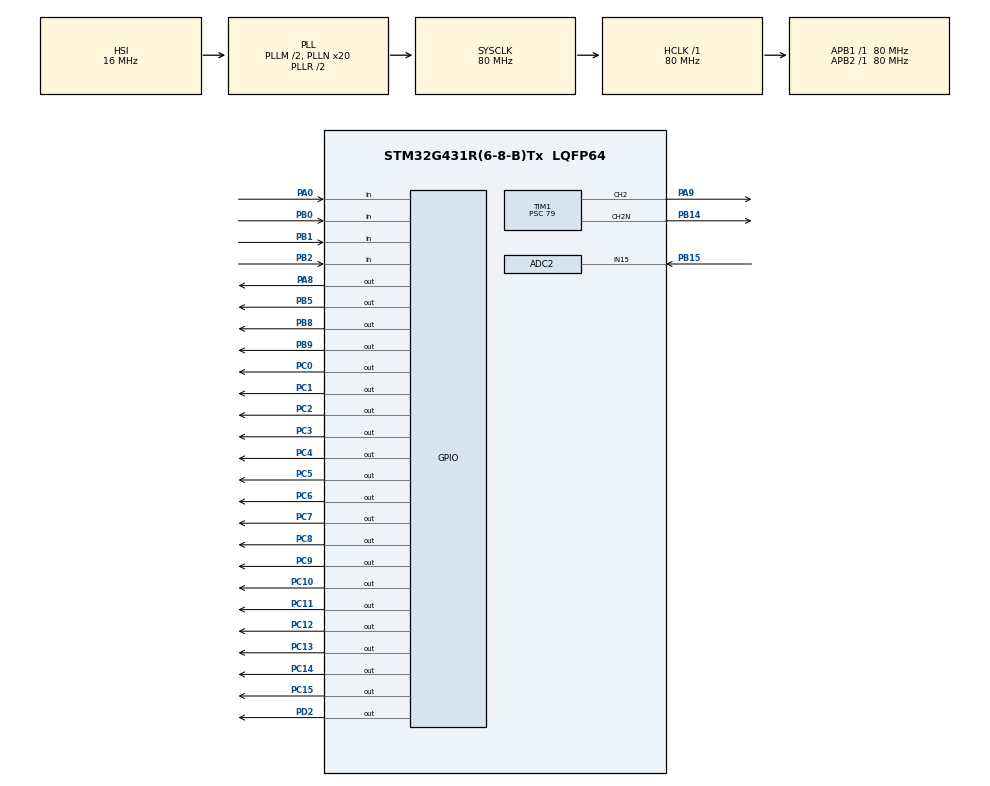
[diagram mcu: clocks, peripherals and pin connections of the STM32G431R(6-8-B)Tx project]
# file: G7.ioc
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ADC2.Channel-0\#ChannelRegularConversion=ADC_CHANNEL_15
ADC2.NbrOfConversionFlag=1
ADC2.OffsetNumber-0\#ChannelRegularConversion=ADC_OFFSET_NONE
ADC2.Rank-0\#ChannelRegularConversion=1
ADC2.SamplingTime-0\#ChannelRegularConversion=ADC_SAMPLETIME_640CYCLES_5
Mcu.Family=STM32G4
Mcu.Name=STM32G431R(6-8-B)Tx
Mcu.Package=LQFP64
NVIC.PriorityGroup=NVIC_PRIORITYGROUP_4
PA0.Signal=GPIO_Input
PA8.Signal=GPIO_Output
PA9.Signal=S_TIM1_CH2
PB0.Signal=GPIO_Input
PB1.Signal=GPIO_Input
PB14.Mode=PWM Generation2 CH2 CH2N
PB14.Signal=TIM1_CH2N
PB15.Mode=IN15-Single-Ended
PB15.Signal=ADC2_IN15
PB2.Signal=GPIO_Input
PB5.Signal=GPIO_Output
PB8-BOOT0.Signal=GPIO_Output
PB9.Signal=GPIO_Output
PC0.Signal=GPIO_Output
PC1.Signal=GPIO_Output
PC10.Signal=GPIO_Output
PC11.Signal=GPIO_Output
PC12.Signal=GPIO_Output
PC13.Signal=GPIO_Output
PC14-OSC32_IN.Signal=GPIO_Output
PC15-OSC32_OUT.Signal=GPIO_Output
PC2.Signal=GPIO_Output
PC3.Signal=GPIO_Output
PC4.Signal=GPIO_Output
PC5.Signal=GPIO_Output
PC6.Signal=GPIO_Output
PC7.Signal=GPIO_Output
PC8.Signal=GPIO_Output
PC9.Signal=GPIO_Output
PD2.Signal=GPIO_Output
PF0-OSC_IN.Mode=HSE-External-Oscillator
PF0-OSC_IN.Signal=RCC_OSC_IN
PF1-OSC_OUT.Mode=HSE-External-Oscillator
PF1-OSC_OUT.Signal=RCC_OSC_OUT
ProjectManager.HeapSize=0x200
ProjectManager.StackSize=0x400
ProjectManager.TargetToolchain=MDK-ARM V5
RCC.ADC12Freq_Value=80000000
RCC.AHBFreq_Value=80000000
RCC.APB1Freq_Value=80000000
RCC.APB1TimFreq_Value=80000000
RCC.APB2Freq_Value=80000000
RCC.APB2TimFreq_Value=80000000
RCC.CortexFreq_Value=80000000
RCC.EXTERNAL_CLOCK_VALUE=12288000
RCC.HCLKFreq_Value=80000000
RCC.HSE_VALUE=24000000
RCC.HSI48_VALUE=48000000
RCC.HSI_VALUE=16000000
RCC.LSE_VALUE=32768
RCC.PLLM=RCC_PLLM_DIV2
RCC.PLLN=20
RCC.SYSCLKFreq_VALUE=80000000
RCC.SYSCLKSource=RCC_SYSCLKSOURCE_PLLCLK
RCC.USBFreq_Value=80000000
RCC.VCOOutputFreq_Value=160000000
SH.S_TIM1_CH2.0=TIM1_CH2,PWM Generation2 CH2 CH2N
TIM1.AutoReloadPreload=TIM_AUTORELOAD_PRELOAD_ENABLE
TIM1.Channel-PWM\ Generation2\ CH2\ CH2N=TIM_CHANNEL_2
TIM1.PeriodNoDither=99
TIM1.Prescaler=79
TIM1.PulseNoDither_2=25
VP_SYS_VS_DBSignals.Mode=DisableDeadBatterySignals
board=custom

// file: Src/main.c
/* USER CODE BEGIN Header */
/**
  ******************************************************************************
  * @file           : main.c
  * @brief          : Main program body
  ******************************************************************************
  * @attention
  *
  * <h2><center>&copy; Copyright (c) 2021 STMicroelectronics.
  * All rights reserved.</center></h2>
  *
  * This software component is licensed by ST under BSD 3-Clause license,
  * the "License"; You may not use this file except in compliance with the
  * License. You may obtain a copy of the License at:
  *                        opensource.org/licenses/BSD-3-Clause
  *
  ******************************************************************************
  */
/* USER CODE END Header */

#include "main.h"
#include "adc.h"
#include "tim.h"
#include "gpio.h"

/* USER CODE BEGIN Includes */
#include "led.h"
#include "key.h"
#include "stdio.h"
#include "string.h"

/* USER CODE END Includes */

void SystemClock_Config(void);

/* USER CODE BEGIN 0 */

uint32_t keyTick = 0;
void Key_Proc(void)
{
	if(uwTick - keyTick < 20)return;
	keyTick = uwTick;

	Key_Read();

	if(Trg & 0x01)
	{
		Led_Control(0x01);
	}

	if(Trg & 0x02)
	{
		Led_Control(0x02);
	}

	if(Trg & 0x04)
	{
		Led_Control(0x04);
	}

	if(Trg & 0x08)
	{
		Led_Control(0x08);
	}

}

//ADC
u32 adc_val;
double r37_v;

void ADC_Proc(void)
{
	HAL_ADC_Start(&hadc2);
	adc_val = HAL_ADC_GetValue(&hadc2);
	r37_v = adc_val / 4095.0*3.3;

}

//TIM
int F = 5000;
double D = 0.64;

void PWM2_Proc(void)
{
	TIM15->ARR = (1e6/F - 1);
	TIM15->CCR1 = (TIM15->ARR + 1)*D;
}

//LCD

//存六十组数据

double record[65][5];

u8 te = 25;
float humi = 23.65;

//显示负温度

double temp = 60;

uint32_t lcdTick = 0;

void LCD_Proc(void)
{
	if(uwTick - lcdTick < 100) return;
	lcdTick = uwTick;

	u8 display_buf[30];

	record[0][1] = te;
	record[0][2] = humi;

	sprintf((char*)display_buf,"123456789");
	LCD_DisplayStringLine(Line0,display_buf);

	sprintf((char*)display_buf,"   %-5.1fC",temp); //符号位占一位，4.2f
	LCD_DisplayStringLine(Line1,display_buf);

	sprintf((char*)display_buf,"%f  ,%f  ",record[0][1],record[0][2]); //符号位占一位，4.2f
	LCD_DisplayStringLine(Line2,display_buf);

}

/* USER CODE END 0 */

int main(void)
{

  /* MCU Configuration--------------------------------------------------------*/

  /* Reset of all peripherals, Initializes the Flash interface and the Systick. */
  HAL_Init();

  /* Configure the system clock */
  SystemClock_Config();

  /* Initialize all configured peripherals */
  MX_GPIO_Init();
  MX_ADC2_Init();
  MX_TIM1_Init();
  /* USER CODE BEGIN 2 */

    LCD_Init();

//	//互补输出
//	HAL_TIM_PWM_Start(&htim1,TIM_CHANNEL_2);
//
//	//下面为开启互补输出
//	HAL_TIMEx_PWMN_Start(&htim1,TIM_CHANNEL_2);

  /* USER CODE END 2 */

  /* Infinite loop */
  /* USER CODE BEGIN WHILE */

    LCD_Clear(Black);
    LCD_SetBackColor(Black);
    LCD_SetTextColor(White);

//    LCD_DrawLine(120, 0, 320, Horizontal);
//    LCD_DrawLine(0, 160, 240, Vertical);
//    HAL_Delay(1000);
//    LCD_Clear(Blue);

//    LCD_DrawRect(70, 210, 100, 100);
//    HAL_Delay(1000);
//    LCD_Clear(Blue);

//    LCD_DrawCircle(120, 160, 50);
//    HAL_Delay(1000);

//    LCD_Clear(Blue);
//    LCD_DisplayStringLine(Line4, (unsigned char *)"    Hello,world.   ");
//    HAL_Delay(1000);

//    LCD_SetBackColor(White);
//    LCD_DisplayStringLine(Line0, (unsigned char *)"                    ");
//    LCD_SetBackColor(Black);
//    LCD_DisplayStringLine(Line1, (unsigned char *)"                    ");
//    LCD_SetBackColor(Grey);
//    LCD_DisplayStringLine(Line2, (unsigned char *)"                    ");
//    LCD_SetBackColor(Blue);
//    LCD_DisplayStringLine(Line3, (unsigned char *)"                    ");
//    LCD_SetBackColor(Blue2);
//    LCD_DisplayStringLine(Line4, (unsigned char *)"                    ");
//    LCD_SetBackColor(Red);
//    LCD_DisplayStringLine(Line5, (unsigned char *)"                    ");
//    LCD_SetBackColor(Magenta);
//    LCD_DisplayStringLine(Line6, (unsigned char *)"                    ");
//    LCD_SetBackColor(Green);
//    LCD_DisplayStringLine(Line7, (unsigned char *)"                    ");
//    LCD_SetBackColor(Cyan);
//    LCD_DisplayStringLine(Line8, (unsigned char *)"                    ");
//    LCD_SetBackColor(Yellow);
//    LCD_DisplayStringLine(Line9, (unsigned char *)"                    ");

		Led_Control(0x00);

    while (1)
    {
    /* USER CODE END WHILE */

    /* USER CODE BEGIN 3 */
			Key_Proc();
			LCD_Proc();
			ADC_Proc();
			PWM2_Proc();
    }
  /* USER CODE END 3 */
}

void SystemClock_Config(void)
{
  RCC_OscInitTypeDef RCC_OscInitStruct = {0};
  RCC_ClkInitTypeDef RCC_ClkInitStruct = {0};
  RCC_PeriphCLKInitTypeDef PeriphClkInit = {0};

  /** Configure the main internal regulator output voltage
  */
  HAL_PWREx_ControlVoltageScaling(PWR_REGULATOR_VOLTAGE_SCALE1);
  /** Initializes the CPU, AHB and APB busses clocks
  */
  RCC_OscInitStruct.OscillatorType = RCC_OSCILLATORTYPE_HSI;
  RCC_OscInitStruct.HSIState = RCC_HSI_ON;
  RCC_OscInitStruct.HSICalibrationValue = RCC_HSICALIBRATION_DEFAULT;
  RCC_OscInitStruct.PLL.PLLState = RCC_PLL_ON;
  RCC_OscInitStruct.PLL.PLLSource = RCC_PLLSOURCE_HSI;
  RCC_OscInitStruct.PLL.PLLM = RCC_PLLM_DIV2;
  RCC_OscInitStruct.PLL.PLLN = 20;
  RCC_OscInitStruct.PLL.PLLP = RCC_PLLP_DIV2;
  RCC_OscInitStruct.PLL.PLLQ = RCC_PLLQ_DIV2;
  RCC_OscInitStruct.PLL.PLLR = RCC_PLLR_DIV2;
  if (HAL_RCC_OscConfig(&RCC_OscInitStruct) != HAL_OK)
  {
    Error_Handler();
  }
  /** Initializes the CPU, AHB and APB busses clocks
  */
  RCC_ClkInitStruct.ClockType = RCC_CLOCKTYPE_HCLK|RCC_CLOCKTYPE_SYSCLK
                              |RCC_CLOCKTYPE_PCLK1|RCC_CLOCKTYPE_PCLK2;
  RCC_ClkInitStruct.SYSCLKSource = RCC_SYSCLKSOURCE_PLLCLK;
  RCC_ClkInitStruct.AHBCLKDivider = RCC_SYSCLK_DIV1;
  RCC_ClkInitStruct.APB1CLKDivider = RCC_HCLK_DIV1;
  RCC_ClkInitStruct.APB2CLKDivider = RCC_HCLK_DIV1;

  if (HAL_RCC_ClockConfig(&RCC_ClkInitStruct, FLASH_LATENCY_3) != HAL_OK)
  {
    Error_Handler();
  }
  /** Initializes the peripherals clocks
  */
  PeriphClkInit.PeriphClockSelection = RCC_PERIPHCLK_ADC12;
  PeriphClkInit.Adc12ClockSelection = RCC_ADC12CLKSOURCE_SYSCLK;
  if (HAL_RCCEx_PeriphCLKConfig(&PeriphClkInit) != HAL_OK)
  {
    Error_Handler();
  }
}

void Error_Handler(void)
{
}

/************************ (C) COPYRIGHT STMicroelectronics *****END OF FILE****/
